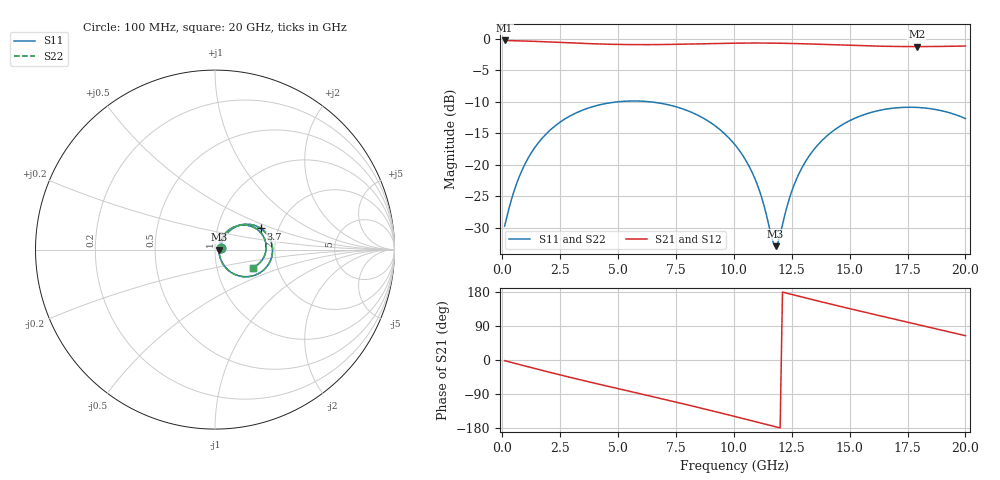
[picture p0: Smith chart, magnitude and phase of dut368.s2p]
! Touchstone file exported from HFSS 2026.1.0
!  File:  C:/ffzhzh/LocalFiles/Ansys_Project_Files/temp_train_TSV_RDL_368_1783040153_4048.aedt
!  Generated:  09:16:28 AM Jul  3, 2026
!  Design:  TSV_RDL
!  Project:  temp_train_TSV_RDL_368_1783040153_4048
! Variables:
!  h_bsmrdl = 5.45um
!  h_ox = 20um
!  h_rdl = 5um
!  h_sub = 69.83um
!  h_tmrdl = 4.98um
!  h_tsv = 69.83um
!  h_via = 3um
!  l_bsmrdl = 922.48um
!  l_sub = 5161.05um
!  l_tmrdl = 473.39um
!  m_sub = 200um
!  pitch = 26.78um
!  r_tsv = 2.13um
!  s_tmrdl = 10um
!  w_bsmrdl = 17.87um
!  w_sub = 500um
!  w_tmrdl = 15.48um
!  x_tsv_center1 = 481.13um
!  x_tsv_center2 = 1421.48um
!  x_tsv_center3 = 1910.35um
!  x_tsv_center4 = 2850.7um
!  x_tsv_center5 = 3339.57um
!  x_tsv_center6 = 4279.92um
# GHz S MA R 50.000000
! Terminal data exported
! Port[1] = TM_RDL1_1_T1
! Port[2] = TM_RDL5_1_T1
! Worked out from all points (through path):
!   200 points, 100 MHz to 20 GHz, reference 50 ohm
!   highest |S21| = -0.27 dB at 100 MHz (marker M1); lowest = -1.2 dB at 17.9 GHz (marker M2)
!   group delay of S21, straight-line fit = 41.1 ps
!   lowest |S11| = -32.9 dB at 11.8 GHz (marker M3), VSWR 1.05, Z = 52.3 - j0.0654 ohm
!   |S11| at or under -10 dB: start of sweep to 5.01 GHz; 6.359 GHz to end of sweep
!   |S22| runs from -33.0 to -9.9 dB; largest |S21 - S12| = 1.7e-14
!   S11 on the Smith chart (normalised r, x): 100 MHz: 1.06, +0.02; 3.7 GHz: 1.62, +0.41; 20 GHz: 1.49, -0.32
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0.1  0.03252 19.4  0.9696 -1.7  0.9696 -1.7  0.03252 19.4
! Gamma 0 0 0 0
! Port Impedance 50 0 50 0
0.6  0.06928 50.2  0.9635 -9.8  0.9635 -9.8  0.06928 50.2
1.3  0.1283 52.5  0.9553 -20.9  0.9553 -20.9  0.1283 52.5
2.3  0.2048 42.7  0.9391 -36.3  0.9391 -36.3  0.2048 42.7
3.5  0.2727 27.4  0.9187 -54.2  0.9187 -54.2  0.2727 27.4
3.7  0.2811 24.8  0.9157 -57.1  0.9157 -57.1  0.2811 24.8
5.2  0.3184 5.2  0.9004 -78.4  0.9004 -78.4  0.3184 5.2
6.8  0.3085 -15.7  0.8996 -101.1  0.8996 -101.1  0.3085 -15.7
8.7  0.2332 -40.4  0.9131 -128.7  0.9131 -128.7  0.2332 -40.4
10.1  0.1401 -56.8  0.9231 -149.9  0.9231 -149.9  0.1401 -56.9
11  0.07044 -60.6  0.9252 -163.8  0.9252 -163.8  0.07043 -60.7
11.3  0.04757 -55.4  0.9248 -168.4  0.9248 -168.4  0.04755 -55.5
11.7  0.02411 -20.3  0.9235 -174.6  0.9235 -174.6  0.02402 -20.5
11.8  0.02255 -1.6  0.923 -176.2  0.923 -176.2  0.02245 -1.7
11.9  0.02397 17.2  0.9225 -177.7  0.9225 -177.7  0.02386 17.3
12.3  0.04684 52.7  0.9197 176.1  0.9197 176.1  0.04676 52.9
12.6  0.06899 58.1  0.917 171.5  0.917 171.5  0.06892 58.2
13.4  0.1279 55.4  0.9081 159.3  0.9081 159.3  0.1278 55.5
14.8  0.2137 39.9  0.8895 138.5  0.8895 138.5  0.2137 40.0
16.7  0.2785 16.0  0.8704 111.2  0.8704 111.2  0.2784 16.1
17.9  0.2851 0.8  0.8668 94.3  0.8668 94.3  0.2851 0.9
20  0.2325 -25.5  0.8758 64.2  0.8758 64.2  0.2325 -25.4
